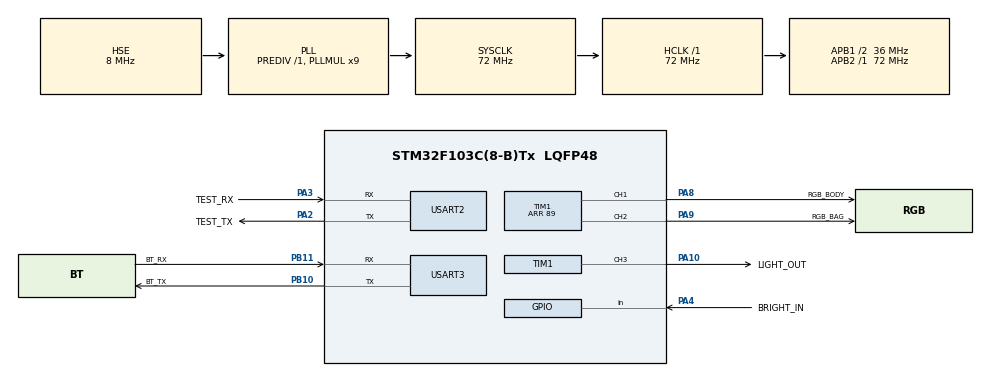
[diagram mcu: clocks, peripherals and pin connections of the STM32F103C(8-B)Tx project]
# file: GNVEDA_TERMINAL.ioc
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Dma.Request0=TIM1_CH1
Dma.Request1=TIM1_CH2
Dma.Request2=TIM1_CH3
Dma.TIM1_CH1.0.Direction=DMA_MEMORY_TO_PERIPH
Dma.TIM1_CH1.0.Instance=DMA1_Channel2
Dma.TIM1_CH1.0.MemDataAlignment=DMA_MDATAALIGN_HALFWORD
Dma.TIM1_CH1.0.MemInc=DMA_MINC_ENABLE
Dma.TIM1_CH1.0.Mode=DMA_CIRCULAR
Dma.TIM1_CH1.0.PeriphDataAlignment=DMA_PDATAALIGN_HALFWORD
Dma.TIM1_CH1.0.PeriphInc=DMA_PINC_DISABLE
Dma.TIM1_CH1.0.Priority=DMA_PRIORITY_LOW
Dma.TIM1_CH2.1.Direction=DMA_MEMORY_TO_PERIPH
Dma.TIM1_CH2.1.Instance=DMA1_Channel3
Dma.TIM1_CH2.1.MemDataAlignment=DMA_MDATAALIGN_HALFWORD
Dma.TIM1_CH2.1.MemInc=DMA_MINC_ENABLE
Dma.TIM1_CH2.1.Mode=DMA_CIRCULAR
Dma.TIM1_CH2.1.PeriphDataAlignment=DMA_PDATAALIGN_HALFWORD
Dma.TIM1_CH2.1.PeriphInc=DMA_PINC_DISABLE
Dma.TIM1_CH2.1.Priority=DMA_PRIORITY_LOW
Dma.TIM1_CH3.2.Direction=DMA_MEMORY_TO_PERIPH
Dma.TIM1_CH3.2.Instance=DMA1_Channel6
Dma.TIM1_CH3.2.MemDataAlignment=DMA_MDATAALIGN_HALFWORD
Dma.TIM1_CH3.2.MemInc=DMA_MINC_ENABLE
Dma.TIM1_CH3.2.Mode=DMA_CIRCULAR
Dma.TIM1_CH3.2.PeriphDataAlignment=DMA_PDATAALIGN_HALFWORD
Dma.TIM1_CH3.2.PeriphInc=DMA_PINC_DISABLE
Dma.TIM1_CH3.2.Priority=DMA_PRIORITY_LOW
Mcu.Family=STM32F1
Mcu.Name=STM32F103C(8-B)Tx
Mcu.Package=LQFP48
NVIC.DMA1_Channel2_IRQn=true\:0\:0\:false\:false\:true\:true\:false\:true\:true
NVIC.DMA1_Channel3_IRQn=true\:0\:0\:false\:false\:true\:true\:false\:true\:true
NVIC.DMA1_Channel6_IRQn=true\:0\:0\:false\:false\:true\:true\:false\:true\:true
NVIC.PriorityGroup=NVIC_PRIORITYGROUP_4
NVIC.TIM3_IRQn=true\:15\:0\:false\:false\:true\:false\:false\:true\:true
NVIC.TimeBase=TIM3_IRQn
NVIC.TimeBaseIP=TIM3
NVIC.USART3_IRQn=true\:0\:0\:false\:false\:true\:false\:true\:true\:true
PA10.GPIO_Label=LIGHT_OUT
PA10.Signal=S_TIM1_CH3
PA13.Mode=Serial_Wire
PA13.Signal=SYS_JTMS-SWDIO
PA14.Mode=Serial_Wire
PA14.Signal=SYS_JTCK-SWCLK
PA2.GPIO_Label=TEST_TX
PA2.Mode=Asynchronous
PA2.Signal=USART2_TX
PA3.GPIO_Label=TEST_RX
PA3.Mode=Asynchronous
PA3.Signal=USART2_RX
PA4.GPIO_Label=BRIGHT_IN
PA4.Signal=GPIO_Input
PA8.GPIO_Label=RGB_BODY
PA8.Signal=S_TIM1_CH1
PA9.GPIO_Label=RGB_BAG
PA9.Signal=S_TIM1_CH2
PB10.GPIO_Label=BT_TX
PB10.Mode=Asynchronous
PB10.Signal=USART3_TX
PB11.GPIO_Label=BT_RX
PB11.Mode=Asynchronous
PB11.Signal=USART3_RX
PD0-OSC_IN.Mode=HSE-External-Oscillator
PD0-OSC_IN.Signal=RCC_OSC_IN
PD1-OSC_OUT.Mode=HSE-External-Oscillator
PD1-OSC_OUT.Signal=RCC_OSC_OUT
ProjectManager.HeapSize=0x200
ProjectManager.StackSize=0x400
ProjectManager.TargetToolchain=MDK-ARM V5.32
RCC.AHBFreq_Value=72000000
RCC.APB1CLKDivider=RCC_HCLK_DIV2
RCC.APB1Freq_Value=36000000
RCC.APB1TimFreq_Value=72000000
RCC.APB2Freq_Value=72000000
RCC.APB2TimFreq_Value=72000000
RCC.HCLKFreq_Value=72000000
RCC.PLLMUL=RCC_PLL_MUL9
RCC.PLLSourceVirtual=RCC_PLLSOURCE_HSE
RCC.SYSCLKFreq_VALUE=72000000
RCC.SYSCLKSource=RCC_SYSCLKSOURCE_PLLCLK
RCC.USBFreq_Value=72000000
RealThread.RT-Thread.3.1.5.RTOSJjkernel=true
RealThread.RT-Thread.3.1.5.RTOSJjshell=true
SH.S_TIM1_CH1.0=TIM1_CH1,PWM Generation1 CH1
SH.S_TIM1_CH2.0=TIM1_CH2,PWM Generation2 CH2
SH.S_TIM1_CH3.0=TIM1_CH3,PWM Generation3 CH3
TIM1.Channel-PWM\ Generation1\ CH1=TIM_CHANNEL_1
TIM1.Channel-PWM\ Generation2\ CH2=TIM_CHANNEL_2
TIM1.Channel-PWM\ Generation3\ CH3=TIM_CHANNEL_3
TIM1.Period=89
USART2.VirtualMode=VM_ASYNC
USART3.VirtualMode=VM_ASYNC
VP_RealThread.RT-Thread_VS_RTOSJjkernel_3.1.5_3.1.5.Mode=RTOSJjkernel
VP_RealThread.RT-Thread_VS_RTOSJjshell_3.1.5_3.1.5.Mode=RTOSJjshell
VP_SYS_VS_tim3.Mode=TIM3
board=custom

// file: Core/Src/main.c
/* USER CODE BEGIN Header */
/**
 ******************************************************************************
 * @file           : main.c
 * @brief          : Main program body
 ******************************************************************************
 * @attention
 *
 * Copyright (c) 2024 STMicroelectronics.
 * All rights reserved.
 *
 * This software is licensed under terms that can be found in the LICENSE file
 * in the root directory of this software component.
 * If no LICENSE file comes with this software, it is provided AS-IS.
 *
 ******************************************************************************
 */
/* USER CODE END Header */
#include "main.h"
#include "dma.h"
#include "tim.h"
#include "usart.h"
#include "gpio.h"

/* USER CODE BEGIN Includes */
#include <rtthread.h>
#include "RGB.h"
#include "easyflash.h"
#include "string.h"
#include "stdlib.h"
#include "stdio.h"
#include "gn_controller.h"
#include "jsonUtil.h"
/* USER CODE END Includes */

/* USER CODE BEGIN PD */
#define BUFFER_SIZE 250
/* USER CODE END PD */

/* USER CODE BEGIN PV */
RGB_LED rgb_test;
char usart3_c;
int usart3_rx_index;
char usart3_rx_buffer[BUFFER_SIZE];
int mode_id = 6;
int gn_mode_id = 0;
int command_able = 0;
rt_thread_t processJsonThread;
/* USER CODE END PV */

void SystemClock_Config(void);

/* USER CODE BEGIN 0 */
uint32_t color;
/* USER CODE END 0 */

int main(void)
{

  /* MCU Configuration--------------------------------------------------------*/

  /* Reset of all peripherals, Initializes the Flash interface and the Systick. */
  HAL_Init();

  /* USER CODE BEGIN Init */
  RGB_LED_Init(&rgb_test, 10, &htim1, TIM_CHANNEL_1);
  /* USER CODE END Init */

  /* Configure the system clock */
  SystemClock_Config();

  /* Initialize all configured peripherals */
  MX_GPIO_Init();
  MX_DMA_Init();
  MX_TIM1_Init();
  MX_USART2_UART_Init();
  MX_USART3_UART_Init();
  /* USER CODE BEGIN 2 */
  if(easyflash_init() == EF_NO_ERR)                         // Initialization Data Succeed
  {
    rt_kprintf("easyflash初始化完成\n");
  }

  HAL_UART_Receive_IT(&huart3, (uint8_t *)&usart3_c, 1);

  rt_thread_t usart_task_tid = rt_thread_create("rgb_demo", /* ???? */
                                                rgb_task, RT_NULL,
                                                1024, 3, 10); //
  if (usart_task_tid != RT_NULL)
  {
    rt_thread_startup(usart_task_tid);
    rt_kprintf("usart thread is already started\n");
  }
  else
  {
    rt_kprintf("usart thread is not started\n");
  }
  processJsonThread = rt_thread_create("commandParsing", commandParsingTask, RT_NULL, 7216, 4, 10);
  if (processJsonThread != RT_NULL)
  {
    // 启动线程
    rt_thread_startup(processJsonThread);
  }
  /* USER CODE END 2 */

  /* Infinite loop */
  while (1)
  {

  }
}

void SystemClock_Config(void)
{
  RCC_OscInitTypeDef RCC_OscInitStruct = {0};
  RCC_ClkInitTypeDef RCC_ClkInitStruct = {0};

  /** Initializes the RCC Oscillators according to the specified parameters
  * in the RCC_OscInitTypeDef structure.
  */
  RCC_OscInitStruct.OscillatorType = RCC_OSCILLATORTYPE_HSE;
  RCC_OscInitStruct.HSEState = RCC_HSE_ON;
  RCC_OscInitStruct.HSEPredivValue = RCC_HSE_PREDIV_DIV1;
  RCC_OscInitStruct.HSIState = RCC_HSI_ON;
  RCC_OscInitStruct.PLL.PLLState = RCC_PLL_ON;
  RCC_OscInitStruct.PLL.PLLSource = RCC_PLLSOURCE_HSE;
  RCC_OscInitStruct.PLL.PLLMUL = RCC_PLL_MUL9;
  if (HAL_RCC_OscConfig(&RCC_OscInitStruct) != HAL_OK)
  {
    Error_Handler();
  }

  /** Initializes the CPU, AHB and APB buses clocks
  */
  RCC_ClkInitStruct.ClockType = RCC_CLOCKTYPE_HCLK|RCC_CLOCKTYPE_SYSCLK
                              |RCC_CLOCKTYPE_PCLK1|RCC_CLOCKTYPE_PCLK2;
  RCC_ClkInitStruct.SYSCLKSource = RCC_SYSCLKSOURCE_PLLCLK;
  RCC_ClkInitStruct.AHBCLKDivider = RCC_SYSCLK_DIV1;
  RCC_ClkInitStruct.APB1CLKDivider = RCC_HCLK_DIV2;
  RCC_ClkInitStruct.APB2CLKDivider = RCC_HCLK_DIV1;

  if (HAL_RCC_ClockConfig(&RCC_ClkInitStruct, FLASH_LATENCY_2) != HAL_OK)
  {
    Error_Handler();
  }
}

/* USER CODE BEGIN 4 */
void rgb_task(void *promt)
{
  while (1)
  {
    switch (mode_id)
    {
    case 1:
    {
      chest_breathing(&rgb_test);
      break;
    }
    case 2:
    {
      normal(&rgb_test);
      break;
    }
    case 3:
    {
      all_body_breathing(&rgb_test);
      break;
    }
    case 4:
    {
      wavy_one(&rgb_test);
      break;
    }
    case 5:
    {
      wavy_two(&rgb_test);
      break;
    }
    case 6:
    {
      rainbow_RGB(&rgb_test);
      break;
    }
    }

    rt_thread_mdelay(100);

    /* USER CODE BEGIN 3 */
  }
}
// 定义颜色值和颜色获取缓冲�?
uint32_t color_set;
char color_get[16]; // 额外的一个字符用于存储终止符

void setColorToEnv(const char *colors, const char *envName)
{
  int parsedItems = sscanf(colors, "[#%6s]", color_get);
  if (parsedItems == 1)
  {
    color_set = strtol(color_get, NULL, 16);
    rt_kprintf("将颜�?0x%06X保存�?%s\n",color_set,envName);
    ef_set_env_blob(envName, &color_set, 4);
  }
}

// 设置双色到环境变�?
void setDualColorToEnv(const char *colors, const char *envName1, const char *envName2)
{
  char color_get_2[7];
  int parsedItems = sscanf(colors, "[#%6s,#%6s]", color_get, color_get_2);
  if (parsedItems == 2)
  {
    color_set = strtol(color_get, NULL, 16);
    ef_set_env_blob(envName1, &color_set, 4);
    color_set = strtol(color_get_2, NULL, 16);
    ef_set_env_blob(envName2, &color_set, 4);
  }
}
// 主函�?
void processColor(const Message *message)
{
  switch (message->mode.id)
  {
  case 1:
    setColorToEnv(message->mode.colors, "chest_color");
    break;
  case 2:
    setColorToEnv(message->mode.colors, "normal_color");
    break;
  case 3:
    setColorToEnv(message->mode.colors, "body_color");
    break;
  case 4:
    setColorToEnv(message->mode.colors, "wavy_color_1");
    break;
  case 5:
    setDualColorToEnv(message->mode.colors, "wavy_color_1", "wavy_color_2");
    break;
  default:
    // Handle other cases or do nothing
    break;
  }
}
void commandParsingTask(void *prmt)
{
  while(1){
    if (command_able == 1){
        rt_kprintf("正在处理指令%s\n", usart3_rx_buffer);
  int parsedItems;
  int oId;
  char color_get[16];
  char color_get_2[16];
  uint32_t color_set = 0X000000;
  Message message;
  if (parseMessage(usart3_rx_buffer, &message))
  {
    rt_kprintf("Mode Type: %d\n", message.modeType);
    rt_kprintf("Mode ID: %d, Colors: %s\n", message.mode.id, message.mode.colors);
    rt_kprintf("gnMode ID: %d, Colors: %s\n", message.gnMode.id, message.gnMode.colors);
    mode_id = message.mode.id;
    processColor(&message);
  }
  else
  {
    rt_kprintf("Failed to parse the JSON string.\n");
  }

  // Free allocated memory
  free(message.mode.colors);
  free(message.gnMode.colors);
  command_able = 0;
    }
    else rt_thread_mdelay(10);
  }

}
void clearUsart()
{
  memset(usart3_rx_buffer, 0, sizeof(usart3_rx_buffer));
  usart3_rx_index = 0;
}

/* USER CODE END 4 */

void HAL_TIM_PeriodElapsedCallback(TIM_HandleTypeDef *htim)
{
  if (htim->Instance == TIM3) {
    HAL_IncTick();
  }
}

void Error_Handler(void)
{
  __disable_irq();
  while (1)
  {
  }
}
